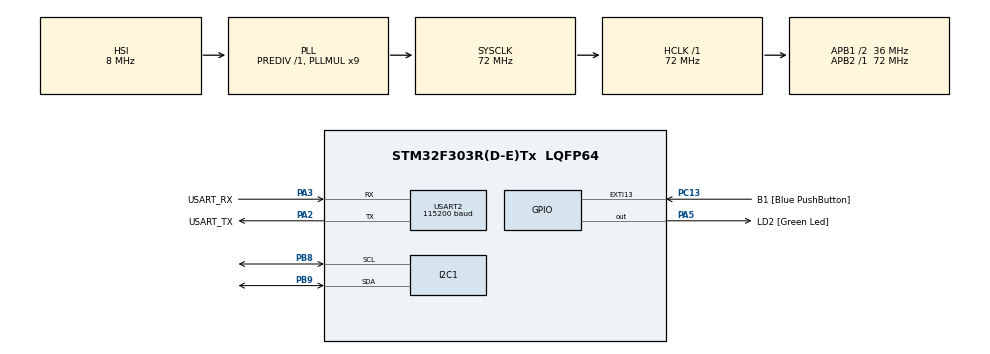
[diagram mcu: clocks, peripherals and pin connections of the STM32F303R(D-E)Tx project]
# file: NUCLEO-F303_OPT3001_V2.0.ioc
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I2C1.Timing=0x00201D2B
Mcu.Family=STM32F3
Mcu.Name=STM32F303R(D-E)Tx
Mcu.Package=LQFP64
NVIC.PriorityGroup=NVIC_PRIORITYGROUP_0
NVIC.TIM2_IRQn=true\:0\:0\:false\:false\:true\:true\:true\:true
PA13.GPIO_Label=TMS
PA13.Mode=Serial_Wire
PA13.Signal=SYS_JTMS-SWDIO
PA14.GPIO_Label=TCK
PA14.Mode=Serial_Wire
PA14.Signal=SYS_JTCK-SWCLK
PA2.GPIO_Label=USART_TX
PA2.GPIO_Mode=GPIO_MODE_AF_PP
PA2.GPIO_PuPd=GPIO_NOPULL
PA2.GPIO_Speed=GPIO_SPEED_FREQ_LOW
PA2.Mode=Asynchronous
PA2.Signal=USART2_TX
PA3.GPIO_Label=USART_RX
PA3.GPIO_Mode=GPIO_MODE_AF_PP
PA3.GPIO_PuPd=GPIO_NOPULL
PA3.GPIO_Speed=GPIO_SPEED_FREQ_LOW
PA3.Mode=Asynchronous
PA3.Signal=USART2_RX
PA5.GPIO_Label=LD2 [Green Led]
PA5.GPIO_Mode=GPIO_MODE_OUTPUT_PP
PA5.GPIO_PuPd=GPIO_NOPULL
PA5.GPIO_Speed=GPIO_SPEED_FREQ_LOW
PA5.Signal=GPIO_Output
PB3.GPIO_Label=SWO
PB3.Signal=SYS_JTDO-TRACESWO
PB8.Mode=I2C
PB8.Signal=I2C1_SCL
PB9.Mode=I2C
PB9.Signal=I2C1_SDA
PC13.GPIO_Label=B1 [Blue PushButton]
PC13.GPIO_ModeDefaultEXTI=GPIO_MODE_IT_FALLING
PC13.Signal=GPXTI13
PC14-OSC32_IN.Mode=LSE-External-Oscillator
PC14-OSC32_IN.Signal=RCC_OSC32_IN
PC15-OSC32_OUT.Mode=LSE-External-Oscillator
PC15-OSC32_OUT.Signal=RCC_OSC32_OUT
PF0-OSC_IN.Mode=HSE-External-Clock-Source
PF0-OSC_IN.Signal=RCC_OSC_IN
PF1-OSC_OUT.Signal=RCC_OSC_OUT
ProjectManager.HeapSize=0x200
ProjectManager.StackSize=0x400
ProjectManager.TargetToolchain=CMake
RCC.AHBFreq_Value=72000000
RCC.APB1CLKDivider=RCC_HCLK_DIV2
RCC.APB1Freq_Value=36000000
RCC.APB1TimFreq_Value=72000000
RCC.APB2Freq_Value=72000000
RCC.APB2TimFreq_Value=72000000
RCC.CortexFreq_Value=72000000
RCC.HCLKFreq_Value=72000000
RCC.HSE_VALUE=8000000
RCC.HSI_VALUE=8000000
RCC.PLLM=8
RCC.PLLMUL=RCC_PLL_MUL9
RCC.PLLN=336
RCC.PLLP=RCC_PLLP_DIV4
RCC.PLLQ=7
RCC.RCC_PLLsource_Clock_Source_FROM_HSE=RCC_HSE_PREDIV_DIV2
RCC.SYSCLKFreq_VALUE=72000000
RCC.SYSCLKSourceVirtual=RCC_SYSCLKSOURCE_PLLCLK
RCC.USBFreq_Value=72000000
TIM2.Period=100-1
TIM2.Prescaler=36000-1
USART2.BaudRate=115200
USART2.VirtualMode-Asynchronous=VM_ASYNC
VP_TIM2_VS_ClockSourceINT.Mode=Internal
board=NUCLEO-F303RE

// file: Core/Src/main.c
/* USER CODE BEGIN Header */
/**
  ******************************************************************************
  * @file           : main.c
  * @brief          : Main program body
  ******************************************************************************
  * @attention
  *
  * Copyright (c) 2026 STMicroelectronics.
  * All rights reserved.
  *
  * This software is licensed under terms that can be found in the LICENSE file
  * in the root directory of this software component.
  * If no LICENSE file comes with this software, it is provided AS-IS.
  *
  ******************************************************************************
  */
/* USER CODE END Header */
#include "main.h"

/* USER CODE BEGIN Includes */
#include "OPT3001.h"
#include "console_uart.h"
#include "stm32f3xx_hal_tim.h"
/* USER CODE END Includes */

I2C_HandleTypeDef hi2c1;

TIM_HandleTypeDef htim2;

UART_HandleTypeDef huart2;

/* USER CODE BEGIN PV */
OPT3001_HandleTypeDef hopt3001;

float lowLimit = 50000.0f;
float highLimit = 80000.0f;

static volatile uint8_t counterTick = 0;
static uint8_t counterOverflow;
/* USER CODE END PV */

void SystemClock_Config(void);
static void MX_GPIO_Init(void);
static void MX_I2C1_Init(void);
static void MX_USART2_UART_Init(void);
static void MX_TIM2_Init(void);
/* USER CODE BEGIN PFP */
void MX_OPT3001_Init(void);
void Task_Read_Lux(void);
/* USER CODE END PFP */

int main(void)
{

  /* MCU Configuration--------------------------------------------------------*/

  /* Reset of all peripherals, Initializes the Flash interface and the Systick. */
  HAL_Init();

  /* Configure the system clock */
  SystemClock_Config();

  /* Initialize all configured peripherals */
  MX_GPIO_Init();
  MX_I2C1_Init();
  MX_USART2_UART_Init();
  MX_TIM2_Init();
  /* USER CODE BEGIN 2 */
  Console_Init(&huart2);
  HAL_TIM_Base_Start_IT(&htim2);
  MX_OPT3001_Init();
  /* USER CODE END 2 */

  /* Infinite loop */
  /* USER CODE BEGIN WHILE */
  while (1)
  {
    Task_Read_Lux();
    /* USER CODE END WHILE */

  }
}

void SystemClock_Config(void)
{
  RCC_OscInitTypeDef RCC_OscInitStruct = {0};
  RCC_ClkInitTypeDef RCC_ClkInitStruct = {0};
  RCC_PeriphCLKInitTypeDef PeriphClkInit = {0};

  /** Initializes the RCC Oscillators according to the specified parameters
  * in the RCC_OscInitTypeDef structure.
  */
  RCC_OscInitStruct.OscillatorType = RCC_OSCILLATORTYPE_HSI;
  RCC_OscInitStruct.HSIState = RCC_HSI_ON;
  RCC_OscInitStruct.HSICalibrationValue = RCC_HSICALIBRATION_DEFAULT;
  RCC_OscInitStruct.PLL.PLLState = RCC_PLL_ON;
  RCC_OscInitStruct.PLL.PLLSource = RCC_PLLSOURCE_HSI;
  RCC_OscInitStruct.PLL.PLLMUL = RCC_PLL_MUL9;
  RCC_OscInitStruct.PLL.PREDIV = RCC_PREDIV_DIV1;
  if (HAL_RCC_OscConfig(&RCC_OscInitStruct) != HAL_OK)
  {
    Error_Handler();
  }

  /** Initializes the CPU, AHB and APB buses clocks
  */
  RCC_ClkInitStruct.ClockType = RCC_CLOCKTYPE_HCLK|RCC_CLOCKTYPE_SYSCLK
                              |RCC_CLOCKTYPE_PCLK1|RCC_CLOCKTYPE_PCLK2;
  RCC_ClkInitStruct.SYSCLKSource = RCC_SYSCLKSOURCE_PLLCLK;
  RCC_ClkInitStruct.AHBCLKDivider = RCC_SYSCLK_DIV1;
  RCC_ClkInitStruct.APB1CLKDivider = RCC_HCLK_DIV2;
  RCC_ClkInitStruct.APB2CLKDivider = RCC_HCLK_DIV1;

  if (HAL_RCC_ClockConfig(&RCC_ClkInitStruct, FLASH_LATENCY_2) != HAL_OK)
  {
    Error_Handler();
  }
  PeriphClkInit.PeriphClockSelection = RCC_PERIPHCLK_USART2|RCC_PERIPHCLK_I2C1
                              |RCC_PERIPHCLK_TIM2;
  PeriphClkInit.Usart2ClockSelection = RCC_USART2CLKSOURCE_PCLK1;
  PeriphClkInit.I2c1ClockSelection = RCC_I2C1CLKSOURCE_HSI;
  PeriphClkInit.Tim2ClockSelection = RCC_TIM2CLK_HCLK;
  if (HAL_RCCEx_PeriphCLKConfig(&PeriphClkInit) != HAL_OK)
  {
    Error_Handler();
  }
}

static void MX_I2C1_Init(void)
{

  hi2c1.Instance = I2C1;
  hi2c1.Init.Timing = 0x00201D2B;
  hi2c1.Init.OwnAddress1 = 0;
  hi2c1.Init.AddressingMode = I2C_ADDRESSINGMODE_7BIT;
  hi2c1.Init.DualAddressMode = I2C_DUALADDRESS_DISABLE;
  hi2c1.Init.OwnAddress2 = 0;
  hi2c1.Init.OwnAddress2Masks = I2C_OA2_NOMASK;
  hi2c1.Init.GeneralCallMode = I2C_GENERALCALL_DISABLE;
  hi2c1.Init.NoStretchMode = I2C_NOSTRETCH_DISABLE;
  if (HAL_I2C_Init(&hi2c1) != HAL_OK)
  {
    Error_Handler();
  }

  /** Configure Analogue filter
  */
  if (HAL_I2CEx_ConfigAnalogFilter(&hi2c1, I2C_ANALOGFILTER_ENABLE) != HAL_OK)
  {
    Error_Handler();
  }

  /** Configure Digital filter
  */
  if (HAL_I2CEx_ConfigDigitalFilter(&hi2c1, 0) != HAL_OK)
  {
    Error_Handler();
  }

}

static void MX_TIM2_Init(void)
{

  TIM_ClockConfigTypeDef sClockSourceConfig = {0};
  TIM_MasterConfigTypeDef sMasterConfig = {0};

  htim2.Instance = TIM2;
  htim2.Init.Prescaler = 36000-1;
  htim2.Init.CounterMode = TIM_COUNTERMODE_UP;
  htim2.Init.Period = 100-1;
  htim2.Init.ClockDivision = TIM_CLOCKDIVISION_DIV1;
  htim2.Init.AutoReloadPreload = TIM_AUTORELOAD_PRELOAD_DISABLE;
  if (HAL_TIM_Base_Init(&htim2) != HAL_OK)
  {
    Error_Handler();
  }
  sClockSourceConfig.ClockSource = TIM_CLOCKSOURCE_INTERNAL;
  if (HAL_TIM_ConfigClockSource(&htim2, &sClockSourceConfig) != HAL_OK)
  {
    Error_Handler();
  }
  sMasterConfig.MasterOutputTrigger = TIM_TRGO_RESET;
  sMasterConfig.MasterSlaveMode = TIM_MASTERSLAVEMODE_DISABLE;
  if (HAL_TIMEx_MasterConfigSynchronization(&htim2, &sMasterConfig) != HAL_OK)
  {
    Error_Handler();
  }

}

static void MX_USART2_UART_Init(void)
{

  huart2.Instance = USART2;
  huart2.Init.BaudRate = 115200;
  huart2.Init.WordLength = UART_WORDLENGTH_8B;
  huart2.Init.StopBits = UART_STOPBITS_1;
  huart2.Init.Parity = UART_PARITY_NONE;
  huart2.Init.Mode = UART_MODE_TX_RX;
  huart2.Init.HwFlowCtl = UART_HWCONTROL_NONE;
  huart2.Init.OverSampling = UART_OVERSAMPLING_16;
  huart2.Init.OneBitSampling = UART_ONE_BIT_SAMPLE_DISABLE;
  huart2.AdvancedInit.AdvFeatureInit = UART_ADVFEATURE_NO_INIT;
  if (HAL_UART_Init(&huart2) != HAL_OK)
  {
    Error_Handler();
  }

}

static void MX_GPIO_Init(void)
{
  GPIO_InitTypeDef GPIO_InitStruct = {0};

  /* GPIO Ports Clock Enable */
  __HAL_RCC_GPIOC_CLK_ENABLE();
  __HAL_RCC_GPIOF_CLK_ENABLE();
  __HAL_RCC_GPIOA_CLK_ENABLE();
  __HAL_RCC_GPIOB_CLK_ENABLE();

  /*Configure GPIO pin Output Level */
  HAL_GPIO_WritePin(LD2_GPIO_Port, LD2_Pin, GPIO_PIN_RESET);

  /*Configure GPIO pin : B1_Pin */
  GPIO_InitStruct.Pin = B1_Pin;
  GPIO_InitStruct.Mode = GPIO_MODE_IT_FALLING;
  GPIO_InitStruct.Pull = GPIO_NOPULL;
  HAL_GPIO_Init(B1_GPIO_Port, &GPIO_InitStruct);

  /*Configure GPIO pin : LD2_Pin */
  GPIO_InitStruct.Pin = LD2_Pin;
  GPIO_InitStruct.Mode = GPIO_MODE_OUTPUT_PP;
  GPIO_InitStruct.Pull = GPIO_NOPULL;
  GPIO_InitStruct.Speed = GPIO_SPEED_FREQ_LOW;
  HAL_GPIO_Init(LD2_GPIO_Port, &GPIO_InitStruct);

}

/* USER CODE BEGIN 4 */
void HAL_TIM_PeriodElapsedCallback(TIM_HandleTypeDef *htim)
{
    if (htim->Instance == TIM2)
    {
        counterTick++;
    }
}

void MX_OPT3001_Init(void)
{
    if (OPT3001_Init(&hopt3001, &hi2c1,  OPT3001_ADDRESS) != HAL_OK)
    {
        Console_Printf("Error. Could not communicate with the OPT3001 via I2C.\r\n");
        Error_Handler();
    }
    Console_Printf("OPT3001 detected and successfully configured.\r\n");

    if (OPT3001_SetLowLimit(&hopt3001, lowLimit) != HAL_OK)
    {
        Console_Printf("Error. Could not set the low limit lux.\r\n");
        Error_Handler();
    }
    Console_Printf("OPT3001 set the low limit lux to %.2f successfully.\r\n", lowLimit);

    if (OPT3001_SetHighLimit(&hopt3001, highLimit) != HAL_OK)
    {
        Console_Printf("Error. Could not set the high limit lux.\r\n");
        Error_Handler();
    }
    Console_Printf("OPT3001 set the high limit lux to %.2f successfully.\r\n", highLimit);

    if (OPT3001_SetConvTime(&hopt3001, OPT3001_100_MS) != HAL_OK)
    {
        Console_Printf("Error. Could not set the conversion time.\r\n");
    }
    Console_Printf("The conversion time was successfully established.\r\n");

    OPT3001_ConvTime_TypeDef currentConvTime;
    if (OPT3001_GetConvTime(&hopt3001, &currentConvTime) == HAL_OK)
    {
        if (currentConvTime == OPT3001_100_MS)
        {
            counterOverflow = 1;
            Console_Printf("Tiempo de integración activo: 100 ms\r\n");
        }
        else if (currentConvTime == OPT3001_800_MS)
        {
            counterOverflow = 8;
            Console_Printf("Tiempo de integración activo: 800 ms\r\n");
        }
    }
}

void Task_Read_Lux(void)
{
    if (counterTick >= counterOverflow)
    {
        counterTick = 0;

        if (OPT3001_IsConversionReady(&hopt3001))
        {
            float lux = 0.0f;

            if (OPT3001_GetLux(&hopt3001, &lux) == HAL_OK)
            {
                Console_Printf("Lux = %.2f\r\n", lux);
            }
            else
            {
                Console_Printf("ERROR: Error al realizar la lectura I2C.\r\n");
            }
        }
    }
}
/* USER CODE END 4 */

void Error_Handler(void)
{
  __disable_irq();
  while (1)
  {
  }
}
